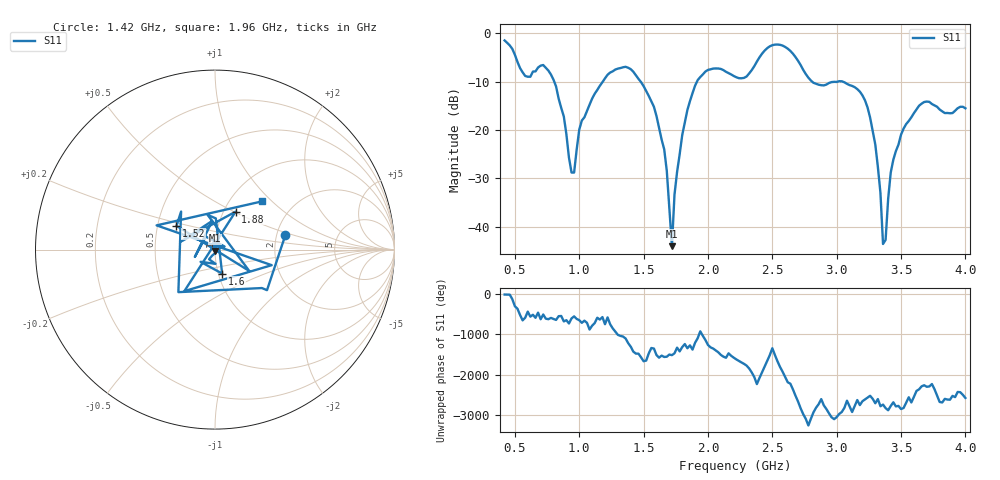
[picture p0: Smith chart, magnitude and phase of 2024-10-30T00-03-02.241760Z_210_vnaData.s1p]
!Created with skrf (http://scikit-rf.org).
# Hz S RI R 50.0
!freq ReS11 ImS11
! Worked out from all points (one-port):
!   180 points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, 420 MHz to 4 GHz, reference 50 ohm
!   lowest |S11| = -44.0 dB at 1.72 GHz (marker M1), VSWR 1.01, Z = 50.1 - j0.614 ohm
!   |S11| at or under -10 dB: 805.5 MHz to 1.183 GHz (377.4 MHz wide, 38 % of centre); 1.477 GHz to 1.915 GHz (437.4 MHz wide, 25.8 % of centre); 3.047 GHz to end of sweep (the widest 3 of 4)
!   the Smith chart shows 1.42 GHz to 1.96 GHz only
!   S11 on the Smith chart (normalised r, x): 1.42 GHz: 2.23, +0.43; 1.52 GHz: 0.63, +0.18; 1.6 GHz: 1.04, -0.28; 1.88 GHz: 1.14, +0.51; 1.96 GHz: 1.39, +0.87
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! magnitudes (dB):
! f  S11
! 420 MHz  -1.5
! 580 MHz  -8.8
! 760 MHz  -7.7
! 880 MHz  -17.2
! 960 MHz  -28.8
! 1.02 GHz  -18.0
! 1.32 GHz  -7.2
! 1.42 GHz  -8.0
! 1.52 GHz  -12.0
! 1.6 GHz  -17.1
! 1.68 GHz  -28.4
! 1.72 GHz  -44.0
! 1.74 GHz  -33.4
! 1.78 GHz  -25.0
! 1.88 GHz  -12.4
! 1.96 GHz  -8.5
! 2.22 GHz  -9.1
! 2.5 GHz  -2.5
! 2.66 GHz  -4.2
! 2.82 GHz  -10.2
! 3.12 GHz  -10.9
! 3.26 GHz  -17.5
! 3.32 GHz  -27.6
! 3.36 GHz  -43.6
! 3.38 GHz  -42.7
! 3.44 GHz  -26.2
! 3.56 GHz  -18.1
! 4 GHz  -15.5
